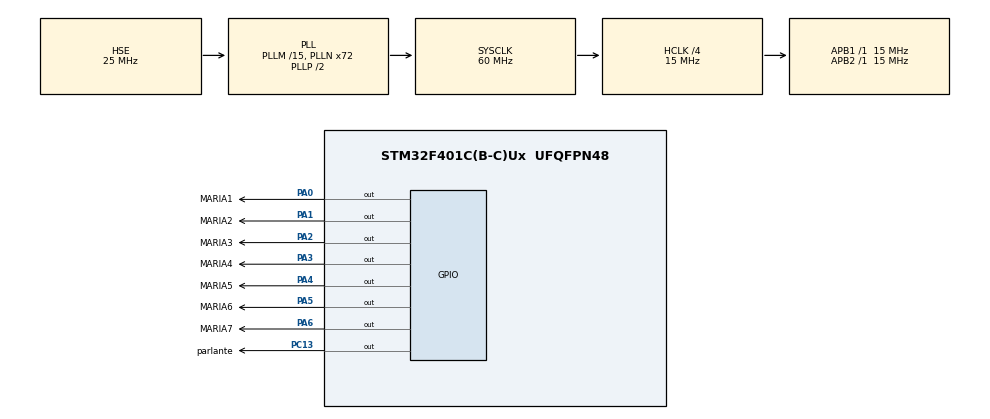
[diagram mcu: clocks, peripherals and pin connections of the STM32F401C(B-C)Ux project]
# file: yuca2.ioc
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Mcu.Family=STM32F4
Mcu.Name=STM32F401C(B-C)Ux
Mcu.Package=UFQFPN48
NVIC.PriorityGroup=NVIC_PRIORITYGROUP_4
PA0-WKUP.GPIO_Label=MARIA1
PA0-WKUP.Signal=GPIO_Output
PA1.GPIO_Label=MARIA2
PA1.Signal=GPIO_Output
PA2.GPIO_Label=MARIA3
PA2.Signal=GPIO_Output
PA3.GPIO_Label=MARIA4
PA3.Signal=GPIO_Output
PA4.GPIO_Label=MARIA5
PA4.Signal=GPIO_Output
PA5.GPIO_Label=MARIA6
PA5.Signal=GPIO_Output
PA6.GPIO_Label=MARIA7
PA6.Signal=GPIO_Output
PC13-ANTI_TAMP.GPIO_Label=parlante
PC13-ANTI_TAMP.Signal=GPIO_Output
PH0\ -\ OSC_IN.Mode=HSE-External-Oscillator
PH0\ -\ OSC_IN.Signal=RCC_OSC_IN
PH1\ -\ OSC_OUT.Mode=HSE-External-Oscillator
PH1\ -\ OSC_OUT.Signal=RCC_OSC_OUT
ProjectManager.HeapSize=0x200
ProjectManager.StackSize=0x400
ProjectManager.TargetToolchain=CMake
RCC.48MHZClocksFreq_Value=30000000
RCC.AHBCLKDivider=RCC_SYSCLK_DIV4
RCC.AHBFreq_Value=15000000
RCC.APB1Freq_Value=15000000
RCC.APB1TimFreq_Value=15000000
RCC.APB2Freq_Value=15000000
RCC.APB2TimFreq_Value=15000000
RCC.CortexFreq_Value=15000000
RCC.HCLKFreq_Value=15000000
RCC.HSE_VALUE=25000000
RCC.HSI_VALUE=16000000
RCC.LSE_VALUE=32768
RCC.PLLM=15
RCC.PLLN=72
RCC.PLLSourceVirtual=RCC_PLLSOURCE_HSE
RCC.SYSCLKFreq_VALUE=60000000
RCC.SYSCLKSource=RCC_SYSCLKSOURCE_PLLCLK
RCC.VCOOutputFreq_Value=120000000
board=custom

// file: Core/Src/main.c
/* USER CODE BEGIN Header */
/**
  ******************************************************************************
  * @file           : main.c
  * @brief          : Main program body
  ******************************************************************************
  * @attention
  *
  * Copyright (c) 2026 STMicroelectronics.
  * All rights reserved.
  *
  * This software is licensed under terms that can be found in the LICENSE file
  * in the root directory of this software component.
  * If no LICENSE file comes with this software, it is provided AS-IS.
  *
  ******************************************************************************
  */
/* USER CODE END Header */
#include "main.h"

/* USER CODE BEGIN PV */

uint32_t pasos=0;//variable para el retardo por debbuger

/* USER CODE END PV */

void SystemClock_Config(void);
static void MX_GPIO_Init(void);

/* USER CODE BEGIN 0 */

void delay_us_dwt_init()
{
	CoreDebug->DEMCR |= CoreDebug_DEMCR_TRCENA_Msk;
    DWT->CTRL |= DWT_CTRL_CYCCNTENA_Msk;
    pasos=(HAL_RCC_GetSysClockFreq()/1000000);//le el cristal pasa a us

}

//retardo por debbuger
void delay_us_dwt(uint32_t reta)
{

DWT->CYCCNT=0;
while( DWT->CYCCNT<=pasos*reta);//multiplica por us
}

void Sound_play(uint32_t frec,uint32_t dura)
{
	uint32_t dela=500000/frec;//  la mitad de un mega
	uint32_t  repe=frec*dura/1000;// calcula cuantas veces se repite

		while(repe--)
	  {
	HAL_GPIO_WritePin(parlante_GPIO_Port, parlante_Pin,1);
	delay_us_dwt(dela);
	  HAL_GPIO_WritePin(parlante_GPIO_Port, parlante_Pin,0);
	  delay_us_dwt(dela);
      }

}

void melodia1 (void)
{
  Sound_play(330,300);
  Sound_play(330,300);
  Sound_play(349,300);
  Sound_play(392,300);

  Sound_play(392,300);
  Sound_play(349,300);
  Sound_play(330,300);
  Sound_play(294,300);

  Sound_play(262,300);
  Sound_play(262,300);
  Sound_play(294,300);
  Sound_play(330,300);

  HAL_Delay(300);
  Sound_play(440,100);
}

/* USER CODE END 0 */

int main(void)
{

  /* MCU Configuration--------------------------------------------------------*/

  /* Reset of all peripherals, Initializes the Flash interface and the Systick. */
  HAL_Init();

  /* Configure the system clock */
  SystemClock_Config();

  /* Initialize all configured peripherals */
  MX_GPIO_Init();
  /* USER CODE BEGIN 2 */
    delay_us_dwt_init();//inicializa el retardo por debbuger
  /* USER CODE END 2 */

  /* Infinite loop */
  /* USER CODE BEGIN WHILE */
  while (1)
  {

    melodia1();
    /* USER CODE END WHILE */

  }
}

void SystemClock_Config(void)
{
  RCC_OscInitTypeDef RCC_OscInitStruct = {0};
  RCC_ClkInitTypeDef RCC_ClkInitStruct = {0};

  /** Configure the main internal regulator output voltage
  */
  __HAL_RCC_PWR_CLK_ENABLE();
  __HAL_PWR_VOLTAGESCALING_CONFIG(PWR_REGULATOR_VOLTAGE_SCALE2);

  /** Initializes the RCC Oscillators according to the specified parameters
  * in the RCC_OscInitTypeDef structure.
  */
  RCC_OscInitStruct.OscillatorType = RCC_OSCILLATORTYPE_HSE;
  RCC_OscInitStruct.HSEState = RCC_HSE_ON;
  RCC_OscInitStruct.PLL.PLLState = RCC_PLL_ON;
  RCC_OscInitStruct.PLL.PLLSource = RCC_PLLSOURCE_HSE;
  RCC_OscInitStruct.PLL.PLLM = 15;
  RCC_OscInitStruct.PLL.PLLN = 72;
  RCC_OscInitStruct.PLL.PLLP = RCC_PLLP_DIV2;
  RCC_OscInitStruct.PLL.PLLQ = 4;
  if (HAL_RCC_OscConfig(&RCC_OscInitStruct) != HAL_OK)
  {
    Error_Handler();
  }

  /** Initializes the CPU, AHB and APB buses clocks
  */
  RCC_ClkInitStruct.ClockType = RCC_CLOCKTYPE_HCLK|RCC_CLOCKTYPE_SYSCLK
                              |RCC_CLOCKTYPE_PCLK1|RCC_CLOCKTYPE_PCLK2;
  RCC_ClkInitStruct.SYSCLKSource = RCC_SYSCLKSOURCE_PLLCLK;
  RCC_ClkInitStruct.AHBCLKDivider = RCC_SYSCLK_DIV4;
  RCC_ClkInitStruct.APB1CLKDivider = RCC_HCLK_DIV1;
  RCC_ClkInitStruct.APB2CLKDivider = RCC_HCLK_DIV1;

  if (HAL_RCC_ClockConfig(&RCC_ClkInitStruct, FLASH_LATENCY_0) != HAL_OK)
  {
    Error_Handler();
  }
}

static void MX_GPIO_Init(void)
{
  GPIO_InitTypeDef GPIO_InitStruct = {0};

  /* GPIO Ports Clock Enable */
  __HAL_RCC_GPIOC_CLK_ENABLE();
  __HAL_RCC_GPIOH_CLK_ENABLE();
  __HAL_RCC_GPIOA_CLK_ENABLE();

  /*Configure GPIO pin Output Level */
  HAL_GPIO_WritePin(parlante_GPIO_Port, parlante_Pin, GPIO_PIN_RESET);

  /*Configure GPIO pin Output Level */
  HAL_GPIO_WritePin(GPIOA, MARIA1_Pin|MARIA2_Pin|MARIA3_Pin|MARIA4_Pin
                          |MARIA5_Pin|MARIA6_Pin|MARIA7_Pin, GPIO_PIN_RESET);

  /*Configure GPIO pin : parlante_Pin */
  GPIO_InitStruct.Pin = parlante_Pin;
  GPIO_InitStruct.Mode = GPIO_MODE_OUTPUT_PP;
  GPIO_InitStruct.Pull = GPIO_NOPULL;
  GPIO_InitStruct.Speed = GPIO_SPEED_FREQ_LOW;
  HAL_GPIO_Init(parlante_GPIO_Port, &GPIO_InitStruct);

  /*Configure GPIO pins : MARIA1_Pin MARIA2_Pin MARIA3_Pin MARIA4_Pin
                           MARIA5_Pin MARIA6_Pin MARIA7_Pin */
  GPIO_InitStruct.Pin = MARIA1_Pin|MARIA2_Pin|MARIA3_Pin|MARIA4_Pin
                          |MARIA5_Pin|MARIA6_Pin|MARIA7_Pin;
  GPIO_InitStruct.Mode = GPIO_MODE_OUTPUT_PP;
  GPIO_InitStruct.Pull = GPIO_NOPULL;
  GPIO_InitStruct.Speed = GPIO_SPEED_FREQ_LOW;
  HAL_GPIO_Init(GPIOA, &GPIO_InitStruct);

}

void Error_Handler(void)
{
  __disable_irq();
  while (1)
  {
  }
}
